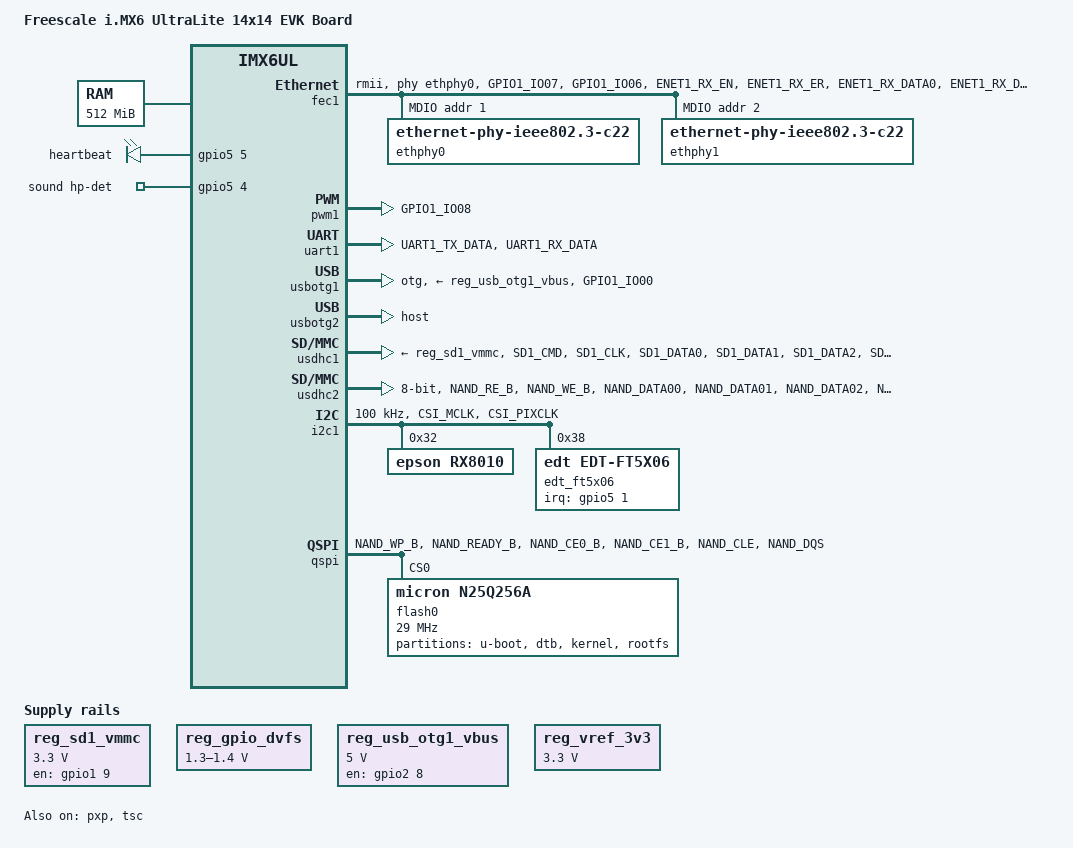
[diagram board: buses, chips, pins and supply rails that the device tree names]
/*
 * Copyright (C) 2015 Freescale Semiconductor, Inc.
 *
 * This program is free software; you can redistribute it and/or modify
 * it under the terms of the GNU General Public License version 2 as
 * published by the Free Software Foundation.
 */

/dts-v1/;

#include <dt-bindings/input/input.h>
#include "imx6ul.dtsi"

/ {
	model = "Freescale i.MX6 UltraLite 14x14 EVK Board";
	compatible = "fsl,imx6ul-14x14-evk", "fsl,imx6ul", "OKMX6UL-C2";

	aliases {
		mmc1 = &usdhc1;
		mmc3 = &usdhc2;
        };

	clocks {
		    mcp251x_clock: mcp251x_clock{
			compatible = "fixed-clock";		   
			#clock-cells = <0>;
			clock-frequency = <8000000>;
		   };	
	};
	chosen {
		stdout-path = &uart1;
	};

	memory {
		reg = <0x80000000 0x20000000>;
	};
	leds {
                compatible = "gpio-leds";
                pinctrl-names = "default";
                status = "okay";
                led3{
                        label = "heartbeat";
                        gpios = <&gpio5 5 0>;
                        linux,default-trigger = "heartbeat";
                };
        };

	pxp_v4l2 {
		compatible = "fsl,imx6ul-pxp-v4l2", "fsl,imx6sx-pxp-v4l2", "fsl,imx6sl-pxp-v4l2";
		status = "okay";
	};

	regulators {
		compatible = "simple-bus";
		#address-cells = <1>;
		#size-cells = <0>;

		reg_can_3v3: regulator@0 {
			compatible = "regulator-fixed";
			reg = <0>;
			regulator-name = "can-3v3";
			regulator-min-microvolt = <3300000>;
			regulator-max-microvolt = <3300000>;
			gpios = <&gpio_spi 3 GPIO_ACTIVE_LOW>;
			status = "disabled";
		};

		reg_sd1_vmmc: regulator@1 {
			compatible = "regulator-fixed";
			regulator-name = "VSD_3V3";
			regulator-min-microvolt = <3300000>;
			regulator-max-microvolt = <3300000>;
			gpio = <&gpio1 9 GPIO_ACTIVE_HIGH>;
			enable-active-high;
		};

		reg_gpio_dvfs: regulator-gpio {
			compatible = "regulator-gpio";
			pinctrl-names = "default";
			pinctrl-0 = <&pinctrl_dvfs>;
			regulator-min-microvolt = <1300000>;
			regulator-max-microvolt = <1400000>;
			regulator-name = "gpio_dvfs";
			regulator-type = "voltage";
			gpios = <&gpio5 3 GPIO_ACTIVE_HIGH>;
			states = <1300000 0x1 1400000 0x0>;
		};
		reg_usb_otg1_vbus: regulator@2 {
                        compatible = "regulator-fixed";
                        reg = <2>;
                        pinctrl-names = "default";
                        pinctrl-0 = <&pinctrl_usb_otg1>;
                        regulator-name = "usb_otg1_vbus";
                        regulator-min-microvolt = <5000000>;
                        regulator-max-microvolt = <5000000>;
                        gpio = <&gpio2 8 GPIO_ACTIVE_HIGH>;
                        enable-active-high;
                };
		reg_vref_3v3: regulator@3 {
             		compatible = "regulator-fixed";
             		regulator-name = "vref-3v3";
		        regulator-min-microvolt = <3300000>;
             		regulator-max-microvolt = <3300000>;
             		reg = <3>;
		};
	};

	sound {
		compatible = "fsl,imx6ul-evk-wm8960",
			   "fsl,imx-audio-wm8960";
		model = "wm8960-audio";
		cpu-dai = <&sai2>;
		audio-codec = <&codec>;
		asrc-controller = <&asrc>;
		codec-master;
		gpr = <&gpr>;
		/*
                 * hp-det = <hp-det-pin hp-det-polarity>;
		 * hp-det-pin: JD1 JD2  or JD3
		 * hp-det-polarity = 0: hp detect high for headphone
		 * hp-det-polarity = 1: hp detect high for speaker
		 */
		hp-det = <3 0>;
		hp-det-gpios = <&gpio5 4 0>;
		audio-routing =
			"Headset Jack", "HP_L",
			"Headset Jack", "HP_R",
			"Ext Spk", "SPK_LP",
			"Ext Spk", "SPK_LN",
			"Ext Spk", "SPK_RP",
			"Ext Spk", "SPK_RN",
			"LINPUT2", "Hp MIC",
			"LINPUT3", "Hp MIC",
			"RINPUT1", "Main MIC",
			"RINPUT2", "Main MIC",
			"Hp MIC", "MICB",
			"Main MIC", "MICB",
			"CPU-Playback", "ASRC-Playback",
			"Playback", "CPU-Playback",
			"ASRC-Capture", "CPU-Capture",
			"CPU-Capture", "Capture";
	};

	spi4 {
		compatible = "spi-gpio";
		pinctrl-names = "default";
		pinctrl-0 = <&pinctrl_spi4>;
		pinctrl-assert-gpios = <&gpio5 8 GPIO_ACTIVE_LOW>;
		status = "disabled";
		gpio-sck = <&gpio5 11 0>;
		gpio-mosi = <&gpio5 10 0>;
		cs-gpios = <&gpio5 7 0>;
		num-chipselects = <1>;
		#address-cells = <1>;
		#size-cells = <0>;

		gpio_spi: gpio_spi@0 {
			compatible = "fairchild,74hc595";
			gpio-controller;
			#gpio-cells = <2>;
			reg = <0>;
			registers-number = <1>;
			registers-default = /bits/ 8 <0xb7>;
			spi-max-frequency = <100000>;
		};
	};

};

&cpu0 {
	arm-supply = <&reg_arm>;
	soc-supply = <&reg_soc>;
	dc-supply = <&reg_gpio_dvfs>;
};

&clks {
	assigned-clocks = <&clks IMX6UL_CLK_PLL4_AUDIO_DIV>;
	assigned-clock-rates = <722534400>;
};

&csi {
	status = "disabled";

	port {
		csi1_ep: endpoint {
			remote-endpoint = <&ov9650_ep>;
		};
	};
};

&ecspi1 {
     	compatible = "fsl,imx51-ecspi";
     	fsl,spi-num-chipselects = <1>;
     	cs-gpios = <&gpio4 26 0>;
     	pinctrl-names = "default";
     	pinctrl-0 = <&pinctrl_ecspi1>,<&pinctrl_ecspi1_cs>;
     	status = "disabled";
				
		spidev@0{
			compatible = "spidev";
			spi-max-frequency = <20000000>;
			reg = <0>;
			status = "disabled";
		};
};
&ecspi2 {
	compatible = "fsl,imx51-ecspi";
	fsl,spi-num-chipselects = <1>;
	cs-gpios = <&gpio4 22 0>;
	pinctrl-names = "default";
	pinctrl-0 = <&pinctrl_ecspi2>,<&pinctrl_ecspi2_cs>;
	status = "disabled";
		  
		   can0: mcp2515@0 {
				pinctrl-names = "default";
				compatible = "microchip,mcp2515";
				pinctrl-0 = <&pinctrl_can>;
				cs-gpios = <&gpio4 22 0>;
				reg = <0>;
				spi-max-frequency = <1000000>;
				clocks = <&mcp251x_clock>;
				interrupt-parent = <&gpio4>;
				interrupts = <28 0x2>;
				vdd-supply = <&reg_can_3v3>;
				xceiver-supply = <&reg_can_3v3>;
																											  };
};
&adc1 {
	pinctrl-names = "default";
	pinctrl-0 = <&pinctrl_adc1>;
	vref-supply = <&reg_vref_3v3>;
	status = "disabled";

};
&fec1 {
	pinctrl-names = "default";
	pinctrl-0 = <&pinctrl_enet1>;
	phy-mode = "rmii";
	phy-handle = <&ethphy0>;
	status = "okay";

	
	 mdio {
                #address-cells = <1>;
                #size-cells = <0>;

                ethphy0: ethernet-phy@1 {
                        compatible = "ethernet-phy-ieee802.3-c22";
                        reg = <1>;
                };

                ethphy1: ethernet-phy@2 {
                        compatible = "ethernet-phy-ieee802.3-c22";
                        reg = <2>;
                };
        };
};

&fec2 {
	pinctrl-names = "default";
	pinctrl-0 = <&pinctrl_enet2>;
	phy-mode = "rmii";
	phy-handle = <&ethphy1>;
	status = "disabled";

/*
	mdio {
		#address-cells = <1>;
		#size-cells = <0>;

		ethphy0: ethernet-phy@1 {
			compatible = "ethernet-phy-ieee802.3-c22";
			reg = <1>;
		};

		ethphy1: ethernet-phy@2 {
			compatible = "ethernet-phy-ieee802.3-c22";
			reg = <2>;
		};
	};
*/
};


&gpc {
	fsl,cpu_pupscr_sw2iso = <0x1>;
	fsl,cpu_pupscr_sw = <0x0>;
	fsl,cpu_pdnscr_iso2sw = <0x1>;
	fsl,cpu_pdnscr_iso = <0x1>;
	fsl,wdog-reset = <1>; /* watchdog select of reset source */
	fsl,ldo-bypass = <0>; /* DCDC, ldo-enable */
};


&pwm1 {
	pinctrl-names = "default";
	pinctrl-0 = <&pinctrl_pwm1>;
	status = "okay";
};

&pxp {
	status = "okay";
};

&sai2 {
	pinctrl-names = "default";
	pinctrl-0 = <&pinctrl_sai2>;

	assigned-clocks = <&clks IMX6UL_CLK_SAI2_SEL>,
			  <&clks IMX6UL_CLK_SAI2>;
	assigned-clock-parents = <&clks IMX6UL_CLK_PLL4_AUDIO_DIV>;
	assigned-clock-rates = <0>, <11289600>;

	status = "disabled";
};

&sim2 {
	pinctrl-names = "default";
	pinctrl-0 = <&pinctrl_sim2_1>;
	assigned-clocks = <&clks IMX6UL_CLK_SIM_SEL>;
	assigned-clock-parents = <&clks IMX6UL_CLK_SIM_PODF>;
	assigned-clock-rates = <240000000>;
	pinctrl-assert-gpios = <&gpio4 23 GPIO_ACTIVE_LOW>;
	port = <1>;
	sven_low_active;
	status = "disabled";
};

&tsc {
	pinctrl-names = "default";
	pinctrl-0 = <&pinctrl_tsc>;
	status = "okay";
	xnur-gpio = <&gpio1 3 0>;
	measure_delay_time = <0xffff>;
	pre_charge_time = <0xfff>;
	touchscreen-average-samples = <32>;
};

&uart1 {
	pinctrl-names = "default";
	pinctrl-0 = <&pinctrl_uart1>;
	status = "okay";
};

&uart2 {
	pinctrl-names = "default";
	pinctrl-0 = <&pinctrl_uart2>;
	/* fsl,uart-has-rtscts; */
	/* for DTE mode, add below change */
	/* fsl,dte-mode; */
	/* pinctrl-0 = <&pinctrl_uart2dte>; */
	status = "disabled";
};
&uart3 {
	pinctrl-names = "default";
	pinctrl-0 = <&pinctrl_uart3>;
	status = "disabled";
};
&usbotg1 {
	vbus-supply = <&reg_usb_otg1_vbus>;
	dr_mode = "otg";
	pinctrl-names = "default";
        pinctrl-0 = <&pinctrl_usb_otg1_id>;
	 srp-disable;
        hnp-disable;
  //    adp-disable;
	status = "okay";
};

&usbotg2 {
	dr_mode = "host";
	disable-over-current;
	status = "okay";
};

&usdhc1 {
	pinctrl-names = "default", "state_100mhz", "state_200mhz";
	pinctrl-0 = <&pinctrl_usdhc1>;
	pinctrl-1 = <&pinctrl_usdhc1_100mhz>;
	pinctrl-2 = <&pinctrl_usdhc1_200mhz>;
	cd-gpios = <&gpio1 19 0>;
	keep-power-in-suspend;
	enable-sdio-wakeup;
	vmmc-supply = <&reg_sd1_vmmc>;
	status = "okay";
};

&usdhc2 {
	pinctrl-names = "default";
	pinctrl-0 = <&pinctrl_usdhc2>;
	no-1-8-v;
	bus-width = <8>;
	nonremovable;
	keep-power-in-suspend;
	enable-sdio-wakeup;
	status = "okay";
};

&i2c1 {
	clock-frequency = <100000>;
	pinctrl-names = "default";
	pinctrl-0 = <&pinctrl_i2c1>;
	status = "okay";

	mag3110@0e {
			compatible = "fsl,mag3110";
			status = "disabled";
			reg = <0x0e>;
			position = <2>;
	};
	
	rx8010:rtc@32 {
                        compatible = "epson,rx8010";
                        status = "okay";
                        reg = <0x32>;
        };

	fxls8471@1e {
			compatible = "fsl,fxls8471";
			status = "disabled";
			reg = <0x1e>;
			position = <0>;
			interrupt-parent = <&gpio5>;
			interrupts = <0 8>;
	};
	
	edt_ft5x06@38{
                        compatible = "edt,edt-ft5x06";
                        reg = <0x38>;
                        status = "okay";
                        interrupt-parent = <&gpio5>;
                        interrupts = <1 2>;
        };

};

&i2c2 {
	clock-frequency = <100000>;
	pinctrl-names = "default";
	pinctrl-0 = <&pinctrl_i2c2>;
	status = "disabled";

	codec: wm8960@1a {
		compatible = "wlf,wm8960";
		reg = <0x1a>;
		clocks = <&clks IMX6UL_CLK_SAI2>;
		clock-names = "mclk";
		wlf,shared-lrclk;
	};
/*
	ov5640: ov5640@3c {
		compatible = "ovti,ov5640";
		reg = <0x3c>;
		pinctrl-names = "default";
		pinctrl-0 = <&pinctrl_csi1>;
		clocks = <&clks IMX6UL_CLK_CSI>;
		clock-names = "csi_mclk";
		pwn-gpios = <&gpio_spi 6 1>;
		rst-gpios = <&gpio_spi 5 0>;
		csi_id = <0>;
		mclk = <24000000>;
		mclk_source = <0>;
		status = "disabled";
		port {
			ov5640_ep: endpoint {
				remote-endpoint = <&csi1_ep>;
			};
		};
	}; */
	ov9650: ov9650@30 {
		compatible = "ovti,ov9650";
		reg = <0x30>;
		pinctrl-names = "default";
		pinctrl-0 = <&pinctrl_csi1>;
		clocks = <&clks IMX6UL_CLK_CSI>;
		clock-names = "csi_mclk";
		pwn-gpios = <&gpio_spi 6 1>;
		rst-gpios = <&gpio_spi 5 0>;
		csi_id = <0>;
		mclk = <24000000>;
		mclk_source = <0>;
		status = "disabled";
		port {
			ov9650_ep: endpoint {
				remote-endpoint = <&csi1_ep>;
			};
		};
	};

};

&qspi {
	pinctrl-names = "default";
	pinctrl-0 = <&pinctrl_qspi>;
	status = "okay";
	ddrsmp=<0>;

	flash0: n25q256a@0 {
		#address-cells = <1>;
		#size-cells = <1>;
		compatible = "micron,n25q256a";
		spi-max-frequency = <29000000>;
		spi-nor,ddr-quad-read-dummy = <6>;
		reg = <0>;
		partition@0{
				label = "u-boot";
				reg = <0x0000 0x80000>; /*512k*/
		};
		partition@80000{
				label = "dtb";
				reg = <0x80000 0x10000>; /*64K*/
		};
		partition@90000{
				label = "kernel";
				reg = <0x90000 0x800000>;
		};
		partition@890000{
				label = "rootfs";
				reg = <0x890000 0x1770000>;
		};
	};
};

&gpmi {
	pinctrl-names = "default";
	pinctrl-0 = <&pinctrl_nand>;
	status = "disabled";
	partition@0{
			label = "boot";
			reg = <0x0000 0x400000>; /*4M*/
	};
	partition@1{
			label = "logo";
			reg = <0x400000 0x200000>; /*2M*/
	};
	partition@2{
			label = "ENV";
			reg = <0x600000 0x100000>; /*1M*/
	};
	partition@3{
			label = "DTB";
			reg = <0x700000 0x300000>; /*3M*/
	};
	partition@4{
			label = "kernel";
			reg = <0xa00000 0x800000>; /*8M*/
	};
	partition@5{
			label = "rootfs";
			reg = <0x1200000 0xee00000>;
	};

};

&iomuxc {
	pinctrl-names = "default";
	pinctrl-0 = <&pinctrl_hog_1>;
	imx6ul-evk {
		pinctrl_hog_1: hoggrp-1 {
			fsl,pins = <
				MX6UL_PAD_LCD_RESET__WDOG1_WDOG_ANY    0x30b0
				MX6UL_PAD_UART1_RTS_B__GPIO1_IO19	0x17059 /* SD1 CD */
				MX6UL_PAD_GPIO1_IO05__USDHC1_VSELECT	0x17059 /* SD1 VSELECT */
				MX6UL_PAD_GPIO1_IO09__GPIO1_IO09        0x17059 /* SD1 RESET */
				MX6UL_PAD_UART1_CTS_B__GPIO1_IO18	0x3008
				MX6UL_PAD_UART2_TX_DATA__GPIO1_IO20	0x3008
				MX6UL_PAD_UART2_RX_DATA__GPIO1_IO21	0x3008
				MX6UL_PAD_UART2_CTS_B__GPIO1_IO22	0x3008
				MX6UL_PAD_UART2_RTS_B__GPIO1_IO23	0x3008
				MX6UL_PAD_UART3_TX_DATA__GPIO1_IO24	0x3008
				MX6UL_PAD_UART3_RX_DATA__GPIO1_IO25	0x3008
				MX6UL_PAD_UART3_CTS_B__GPIO1_IO26	0x3008
				MX6UL_PAD_UART3_RTS_B__GPIO1_IO27	0x3008
				MX6UL_PAD_UART4_TX_DATA__GPIO1_IO28 	0x3008
				MX6UL_PAD_UART4_RX_DATA__GPIO1_IO29	0x3008
				MX6UL_PAD_UART5_TX_DATA__GPIO1_IO30	0x3008
				MX6UL_PAD_UART5_RX_DATA__GPIO1_IO31	0x3008
				MX6UL_PAD_ENET2_RX_DATA1__GPIO2_IO09	0x3008
				MX6UL_PAD_ENET2_RX_EN__GPIO2_IO10	0x3008
				MX6UL_PAD_ENET2_TX_DATA0__GPIO2_IO11	0x3008
				MX6UL_PAD_ENET2_TX_DATA1__GPIO2_IO12	0x3008
				MX6UL_PAD_ENET2_TX_EN__GPIO2_IO13	0x3008
				MX6UL_PAD_ENET2_TX_CLK__GPIO2_IO14	0x3008
				MX6UL_PAD_ENET2_RX_ER__GPIO2_IO15	0x3008
				MX6UL_PAD_LCD_DATA16__GPIO3_IO21	0x3008
				MX6UL_PAD_LCD_DATA17__GPIO3_IO22	0x3008
				MX6UL_PAD_LCD_DATA18__GPIO3_IO23	0x3008
				MX6UL_PAD_LCD_DATA19__GPIO3_IO24	0x3008
				MX6UL_PAD_LCD_DATA20__GPIO3_IO25	0x3008
				MX6UL_PAD_LCD_DATA21__GPIO3_IO26	0x3008
				MX6UL_PAD_LCD_DATA22__GPIO3_IO27	0x3008
				MX6UL_PAD_LCD_DATA23__GPIO3_IO28	0x3008
				MX6UL_PAD_CSI_VSYNC__GPIO4_IO19		0x3008
				MX6UL_PAD_CSI_HSYNC__GPIO4_IO20		0x3008
			>;
		};

		pinctrl_csi1: csi1grp {
			fsl,pins = <
				MX6UL_PAD_CSI_MCLK__CSI_MCLK		0x1e038
				MX6UL_PAD_CSI_PIXCLK__CSI_PIXCLK	0x1b088
				MX6UL_PAD_CSI_VSYNC__CSI_VSYNC		0x1b088
				MX6UL_PAD_CSI_HSYNC__CSI_HSYNC		0x1b088
				MX6UL_PAD_CSI_DATA00__CSI_DATA02	0x1b088
				MX6UL_PAD_CSI_DATA01__CSI_DATA03	0x1b088
				MX6UL_PAD_CSI_DATA02__CSI_DATA04	0x1b088
				MX6UL_PAD_CSI_DATA03__CSI_DATA05	0x1b088
				MX6UL_PAD_CSI_DATA04__CSI_DATA06	0x1b088
				MX6UL_PAD_CSI_DATA05__CSI_DATA07	0x1b088
				MX6UL_PAD_CSI_DATA06__CSI_DATA08	0x1b088
				MX6UL_PAD_CSI_DATA07__CSI_DATA09	0x1b088
			>;
		};
		pinctrl_ecspi1: ecspi1grp {
			 fsl,pins = <
				MX6UL_PAD_CSI_DATA07__ECSPI1_MISO   0x100b1
				MX6UL_PAD_CSI_DATA06__ECSPI1_MOSI   0x100b1
				MX6UL_PAD_CSI_DATA04__ECSPI1_SCLK   0x100b1
			 >;
		};
		pinctrl_ecspi1_cs: ecspi1_csgrp {
			 fsl,pins = <
				MX6UL_PAD_CSI_DATA05__GPIO4_IO26   0x80000000
			 >;
		};
		pinctrl_ecspi2: ecspi2grp {
			 fsl,pins = <
				MX6UL_PAD_CSI_DATA03__ECSPI2_MISO   0x100b1
				MX6UL_PAD_CSI_DATA02__ECSPI2_MOSI   0x100b1
				MX6UL_PAD_CSI_DATA00__ECSPI2_SCLK   0x100b1
			 >;
		};
		pinctrl_ecspi2_cs: ecspi2_csgrp {
			 fsl,pins = <
				MX6UL_PAD_CSI_DATA01__GPIO4_IO22   0x80000000
			 >;
		};
		pinctrl_adc1: adc1grp {
			 fsl,pins = <
				MX6UL_PAD_GPIO1_IO01__GPIO1_IO01   0xb0
				MX6UL_PAD_GPIO1_IO02__GPIO1_IO02   0xb0
				MX6UL_PAD_GPIO1_IO03__GPIO1_IO03   0xb0
				MX6UL_PAD_GPIO1_IO04__GPIO1_IO04   0xb0
			 >;
		};
		pinctrl_can: can {
			 fsl,pins = <
				MX6UL_PAD_CSI_DATA07__GPIO4_IO28   0x100b1
			 >;
		};

		pinctrl_enet1: enet1grp {
			fsl,pins = <
				MX6UL_PAD_GPIO1_IO07__ENET1_MDC		0x1b0b0
				MX6UL_PAD_GPIO1_IO06__ENET1_MDIO	0x1b0b0
				MX6UL_PAD_ENET1_RX_EN__ENET1_RX_EN	0x1b0b0
				MX6UL_PAD_ENET1_RX_ER__ENET1_RX_ER	0x1b0b0
				MX6UL_PAD_ENET1_RX_DATA0__ENET1_RDATA00	0x1b0b0
				MX6UL_PAD_ENET1_RX_DATA1__ENET1_RDATA01	0x1b0b0
				MX6UL_PAD_ENET1_TX_EN__ENET1_TX_EN	0x1b0b0
				MX6UL_PAD_ENET1_TX_DATA0__ENET1_TDATA00	0x1b0b0
				MX6UL_PAD_ENET1_TX_DATA1__ENET1_TDATA01	0x1b0b0
				MX6UL_PAD_ENET1_TX_CLK__ENET1_REF_CLK1	0x4001b031
			>;
		};

		pinctrl_enet2: enet2grp {
			fsl,pins = <
				MX6UL_PAD_GPIO1_IO07__ENET2_MDC		0x1b0b0
				MX6UL_PAD_GPIO1_IO06__ENET2_MDIO	0x1b0b0
				MX6UL_PAD_ENET2_RX_EN__ENET2_RX_EN	0x1b0b0
				MX6UL_PAD_ENET2_RX_ER__ENET2_RX_ER	0x1b0b0
				MX6UL_PAD_ENET2_RX_DATA0__ENET2_RDATA00	0x1b0b0
				MX6UL_PAD_ENET2_RX_DATA1__ENET2_RDATA01	0x1b0b0
				MX6UL_PAD_ENET2_TX_EN__ENET2_TX_EN	0x1b0b0
				MX6UL_PAD_ENET2_TX_DATA0__ENET2_TDATA00	0x1b0b0
				MX6UL_PAD_ENET2_TX_DATA1__ENET2_TDATA01	0x1b0b0
				MX6UL_PAD_ENET2_TX_CLK__ENET2_REF_CLK2	0x4001b031
				MX6UL_PAD_SNVS_TAMPER0__GPIO5_IO00	0x80000000
			>;
		};

		pinctrl_flexcan1: flexcan1grp{
			fsl,pins = <
				MX6UL_PAD_UART3_RTS_B__FLEXCAN1_RX	0x1b020
				MX6UL_PAD_UART3_CTS_B__FLEXCAN1_TX	0x1b020
			>;
		};

		pinctrl_flexcan2: flexcan2grp{
			fsl,pins = <
				MX6UL_PAD_UART2_RTS_B__FLEXCAN2_RX	0x1b020
				MX6UL_PAD_UART2_CTS_B__FLEXCAN2_TX	0x1b020
			>;
		};

		pinctrl_lcdif_dat: lcdifdatgrp {
			fsl,pins = <
				MX6UL_PAD_LCD_DATA00__LCDIF_DATA00  0x79
				MX6UL_PAD_LCD_DATA01__LCDIF_DATA01  0x79
				MX6UL_PAD_LCD_DATA02__LCDIF_DATA02  0x79
				MX6UL_PAD_LCD_DATA03__LCDIF_DATA03  0x79
				MX6UL_PAD_LCD_DATA04__LCDIF_DATA04  0x79
				MX6UL_PAD_LCD_DATA05__LCDIF_DATA05  0x79
				MX6UL_PAD_LCD_DATA06__LCDIF_DATA06  0x79
				MX6UL_PAD_LCD_DATA07__LCDIF_DATA07  0x79
				MX6UL_PAD_LCD_DATA08__LCDIF_DATA08  0x79
				MX6UL_PAD_LCD_DATA09__LCDIF_DATA09  0x79
				MX6UL_PAD_LCD_DATA10__LCDIF_DATA10  0x79
				MX6UL_PAD_LCD_DATA11__LCDIF_DATA11  0x79
				MX6UL_PAD_LCD_DATA12__LCDIF_DATA12  0x79
				MX6UL_PAD_LCD_DATA13__LCDIF_DATA13  0x79
				MX6UL_PAD_LCD_DATA14__LCDIF_DATA14  0x79
				MX6UL_PAD_LCD_DATA15__LCDIF_DATA15  0x79
				/* rgb for laohua is rgb565*/
			/*	MX6UL_PAD_LCD_DATA16__LCDIF_DATA16  0x79
				MX6UL_PAD_LCD_DATA17__LCDIF_DATA17  0x79
				MX6UL_PAD_LCD_DATA18__LCDIF_DATA18  0x79
				MX6UL_PAD_LCD_DATA19__LCDIF_DATA19  0x79
				MX6UL_PAD_LCD_DATA20__LCDIF_DATA20  0x79
				MX6UL_PAD_LCD_DATA21__LCDIF_DATA21  0x79
				MX6UL_PAD_LCD_DATA22__LCDIF_DATA22  0x79
				MX6UL_PAD_LCD_DATA23__LCDIF_DATA23  0x79
			*/
			>;
		};

		pinctrl_lcdif_ctrl: lcdifctrlgrp {
			fsl,pins = <
				MX6UL_PAD_LCD_CLK__LCDIF_CLK	    0x79
				MX6UL_PAD_LCD_ENABLE__LCDIF_ENABLE  0x79
				MX6UL_PAD_LCD_HSYNC__LCDIF_HSYNC    0x79
				MX6UL_PAD_LCD_VSYNC__LCDIF_VSYNC    0x79
				/* used for lcd reset */
				MX6UL_PAD_SNVS_TAMPER9__GPIO5_IO09  0x79
			>;
		};

		pinctrl_pwm1: pwm1grp {
			fsl,pins = <
				MX6UL_PAD_GPIO1_IO08__PWM1_OUT   0x110b0
			>;
		};

		pinctrl_sim2_1: sim2grp-1 {
			fsl,pins = <
				MX6UL_PAD_CSI_DATA03__SIM2_PORT1_PD		0xb808
				MX6UL_PAD_CSI_DATA04__SIM2_PORT1_CLK		0x31
				MX6UL_PAD_CSI_DATA05__SIM2_PORT1_RST_B		0xb808
				MX6UL_PAD_CSI_DATA06__SIM2_PORT1_SVEN		0xb808
				MX6UL_PAD_CSI_DATA07__SIM2_PORT1_TRXD		0x1f809
				MX6UL_PAD_CSI_DATA02__GPIO4_IO23		0x3008
			>;
		};

		pinctrl_uart1: uart1grp {
			fsl,pins = <
				MX6UL_PAD_UART1_TX_DATA__UART1_DCE_TX 0x1b0b1
				MX6UL_PAD_UART1_RX_DATA__UART1_DCE_RX 0x1b0b1
			>;
		};

		pinctrl_uart2: uart2grp {
			fsl,pins = <
				MX6UL_PAD_UART2_TX_DATA__UART2_DCE_TX	0x1b0b1
				MX6UL_PAD_UART2_RX_DATA__UART2_DCE_RX	0x1b0b1
			>;
		};

		pinctrl_uart2dte: uart2dtegrp {
			fsl,pins = <
				MX6UL_PAD_UART2_TX_DATA__UART2_DTE_RX	0x1b0b1
				MX6UL_PAD_UART2_RX_DATA__UART2_DTE_TX	0x1b0b1
				MX6UL_PAD_UART3_RX_DATA__UART2_DTE_CTS	0x1b0b1
				MX6UL_PAD_UART3_TX_DATA__UART2_DTE_RTS	0x1b0b1
			>;
		};

		pinctrl_uart3: uart3grp {
			fsl,pins = <
				MX6UL_PAD_UART3_RX_DATA__UART3_DCE_RX	0x1b0b1
				MX6UL_PAD_UART3_TX_DATA__UART3_DCE_TX	0x1b0b1
			>;
		};


		pinctrl_usdhc1: usdhc1grp {
			fsl,pins = <
				MX6UL_PAD_SD1_CMD__USDHC1_CMD     0x17059
				MX6UL_PAD_SD1_CLK__USDHC1_CLK     0x10071
				MX6UL_PAD_SD1_DATA0__USDHC1_DATA0 0x17059
				MX6UL_PAD_SD1_DATA1__USDHC1_DATA1 0x17059
				MX6UL_PAD_SD1_DATA2__USDHC1_DATA2 0x17059
				MX6UL_PAD_SD1_DATA3__USDHC1_DATA3 0x17059
			>;
		};

		pinctrl_usdhc1_100mhz: usdhc1grp100mhz {
			fsl,pins = <
				MX6UL_PAD_SD1_CMD__USDHC1_CMD     0x170b9
				MX6UL_PAD_SD1_CLK__USDHC1_CLK     0x100b9
				MX6UL_PAD_SD1_DATA0__USDHC1_DATA0 0x170b9
				MX6UL_PAD_SD1_DATA1__USDHC1_DATA1 0x170b9
				MX6UL_PAD_SD1_DATA2__USDHC1_DATA2 0x170b9
				MX6UL_PAD_SD1_DATA3__USDHC1_DATA3 0x170b9
			>;
		};

		pinctrl_usdhc1_200mhz: usdhc1grp200mhz {
			fsl,pins = <
				MX6UL_PAD_SD1_CMD__USDHC1_CMD     0x170f9
				MX6UL_PAD_SD1_CLK__USDHC1_CLK     0x100f9
				MX6UL_PAD_SD1_DATA0__USDHC1_DATA0 0x170f9
				MX6UL_PAD_SD1_DATA1__USDHC1_DATA1 0x170f9
				MX6UL_PAD_SD1_DATA2__USDHC1_DATA2 0x170f9
				MX6UL_PAD_SD1_DATA3__USDHC1_DATA3 0x170f9
			>;
		};

		pinctrl_usdhc2: usdhc2grp {
			fsl,pins = <
				MX6UL_PAD_NAND_RE_B__USDHC2_CLK     0x10069
				MX6UL_PAD_NAND_WE_B__USDHC2_CMD     0x17059
				MX6UL_PAD_NAND_DATA00__USDHC2_DATA0 0x17059
				MX6UL_PAD_NAND_DATA01__USDHC2_DATA1 0x17059
				MX6UL_PAD_NAND_DATA02__USDHC2_DATA2 0x17059
				MX6UL_PAD_NAND_DATA03__USDHC2_DATA3 0x17059
				MX6UL_PAD_NAND_DATA04__USDHC2_DATA4 0x17059
				MX6UL_PAD_NAND_DATA05__USDHC2_DATA5 0x17059
				MX6UL_PAD_NAND_DATA06__USDHC2_DATA6 0x17059
				MX6UL_PAD_NAND_DATA07__USDHC2_DATA7 0x17059
			>;
		};

		pinctrl_tsc: tscgrp {
			fsl,pins = <
				MX6UL_PAD_GPIO1_IO01__GPIO1_IO01	0xb0
				MX6UL_PAD_GPIO1_IO02__GPIO1_IO02	0xb0
				MX6UL_PAD_GPIO1_IO03__GPIO1_IO03	0xb0
				MX6UL_PAD_GPIO1_IO04__GPIO1_IO04	0xb0
			>;
		};

		pinctrl_i2c1: i2c1grp {
			fsl,pins = <
//				MX6UL_PAD_UART4_TX_DATA__I2C1_SCL 0x4001b8b0
//				MX6UL_PAD_UART4_RX_DATA__I2C1_SDA 0x4001b8b0
				MX6UL_PAD_CSI_MCLK__I2C1_SDA	  0x4001b8b0
				MX6UL_PAD_CSI_PIXCLK__I2C1_SCL	  0x4001b8b0
			>;
		};

		pinctrl_i2c2: i2c2grp {
			fsl,pins = <
/*				MX6UL_PAD_UART5_TX_DATA__I2C2_SCL 0x100f0	 
				MX6UL_PAD_UART5_RX_DATA__I2C2_SDA 0x100f0
				*/

				MX6UL_PAD_UART5_TX_DATA__I2C2_SCL 0x4001f8a8
				MX6UL_PAD_UART5_RX_DATA__I2C2_SDA 0x4001f8a8
			>;
		};

		pinctrl_qspi: qspigrp {
			fsl,pins = <
				MX6UL_PAD_NAND_WP_B__QSPI_A_SCLK      0x70a1
				MX6UL_PAD_NAND_READY_B__QSPI_A_DATA00 0x70a1
				MX6UL_PAD_NAND_CE0_B__QSPI_A_DATA01   0x70a1
				MX6UL_PAD_NAND_CE1_B__QSPI_A_DATA02   0x70a1
				MX6UL_PAD_NAND_CLE__QSPI_A_DATA03     0x70a1
				MX6UL_PAD_NAND_DQS__QSPI_A_SS0_B      0x70a1
			>;
		};

		pinctrl_nand: nandgrp {
				fsl,pins = <
					MX6UL_PAD_NAND_RE_B__RAWNAND_RE_B 0x70a1
					MX6UL_PAD_NAND_WE_B__RAWNAND_WE_B 0x70a1
					MX6UL_PAD_NAND_DATA00__RAWNAND_DATA00 0x70a1
					MX6UL_PAD_NAND_DATA01__RAWNAND_DATA01 0x70a1
					MX6UL_PAD_NAND_DATA02__RAWNAND_DATA02 0x70a1
					MX6UL_PAD_NAND_DATA03__RAWNAND_DATA03 0x70a1
					MX6UL_PAD_NAND_DATA04__RAWNAND_DATA04 0x70a1
					MX6UL_PAD_NAND_DATA05__RAWNAND_DATA05 0x70a1
					MX6UL_PAD_NAND_DATA06__RAWNAND_DATA06 0x70a1
					MX6UL_PAD_NAND_DATA07__RAWNAND_DATA07 0x70a1
					MX6UL_PAD_NAND_ALE__RAWNAND_ALE 0x70a1
					MX6UL_PAD_NAND_WP_B__RAWNAND_WP_B 0x70a1
					MX6UL_PAD_NAND_READY_B__RAWNAND_READY_B 0x70a1
					MX6UL_PAD_NAND_CE0_B__RAWNAND_CE0_B 0x70a1
					MX6UL_PAD_NAND_CLE__RAWNAND_CLE 0x70a1
				>;
		};

		pinctrl_sai2: sai2grp {
			fsl,pins = <
				MX6UL_PAD_JTAG_TDI__SAI2_TX_BCLK	0x17088
				MX6UL_PAD_JTAG_TDO__SAI2_TX_SYNC	0x17088
				MX6UL_PAD_JTAG_TRST_B__SAI2_TX_DATA	0x11088
				MX6UL_PAD_JTAG_TCK__SAI2_RX_DATA	0x11088
				MX6UL_PAD_JTAG_TMS__SAI2_MCLK		0x17088
				MX6UL_PAD_SNVS_TAMPER4__GPIO5_IO04	0x17059
			>;
		};

		pinctrl_spi4: spi4grp {
			fsl,pins = <
				MX6UL_PAD_BOOT_MODE0__GPIO5_IO10	0x70a1
				MX6UL_PAD_BOOT_MODE1__GPIO5_IO11	0x70a1
				MX6UL_PAD_SNVS_TAMPER7__GPIO5_IO07	0x70a1
				MX6UL_PAD_SNVS_TAMPER8__GPIO5_IO08	0x70a1
			>;
		};

		pinctrl_dvfs: dvfsgrp {
			fsl,pins = <
				MX6UL_PAD_SNVS_TAMPER3__GPIO5_IO03	0x79
			>;
		};
		
	 	pinctrl_usb_otg1_id: usbotg1idgrp {
                        fsl,pins = <
                                MX6UL_PAD_GPIO1_IO00__ANATOP_OTG1_ID    0x17059
                        >;
                };

		pinctrl_usb_otg1: usbotg1grp {
                 	fsl,pins = <
                             // MX6UL_PAD_LCD_HSYNC__GPIO3_IO02        	0x10b0
				MX6UL_PAD_ENET2_RX_DATA0__GPIO2_IO08	0x10b0
                        >;
                };
		
	};
};
